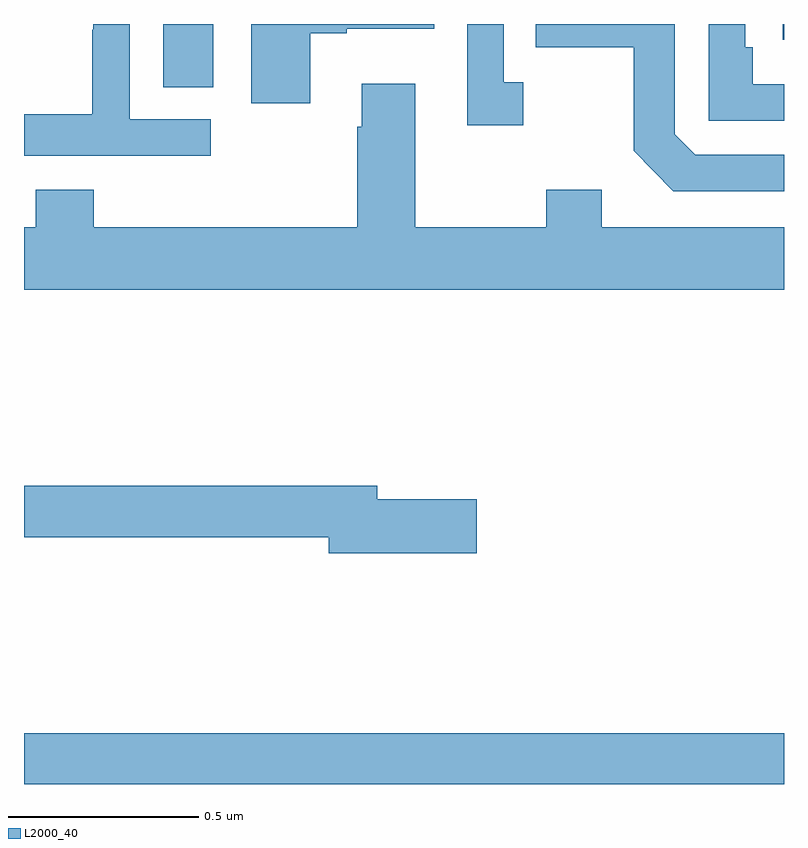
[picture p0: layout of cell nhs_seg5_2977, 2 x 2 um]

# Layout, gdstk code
import gdstk
lib = gdstk.Library(unit=1e-6, precision=1e-09)
def R(c, l, rs):  # rectangles x0, y0, x1, y1
    for r in rs: c.add(gdstk.rectangle(r[:2], r[2:], *l))
def P(c, l, *ps):  # polygons
    for p in ps: c.add(gdstk.Polygon(p, *l))
L2000_40 = (2000, 40)

nhs_seg5_2977 = lib.new_cell('nhs_seg5_2977')
R(nhs_seg5_2977, L2000_40, [(151,848.799,153,848.932), (151.367,850.633,151.498,850.799), (152.997,850.758,153,850.799)])
P(nhs_seg5_2977, L2000_40, [(153,850.455),(152.766,850.455),(152.712,850.509),(152.712,850.799),(152.347,850.799),(152.347,850.738),(152.604,850.738),(152.604,850.465),(152.709,850.359),(153,850.359)],
  [(152.314,850.646),(152.262,850.646),(152.262,850.799),(152.166,850.799),(152.166,850.533),(152.314,850.533)],
  [(153,850.641),(152.918,850.641),(152.918,850.738),(152.898,850.738),(152.898,850.799),(152.802,850.799),(152.802,850.545),(153,850.545)],
  [(151.492,850.548),(151.278,850.548),(151.278,850.799),(151.182,850.799),(151.182,850.784),(151.18,850.784),(151.18,850.561),(151,850.561),(151,850.452),(151.492,850.452)],
  [(151.753,850.775),(151.849,850.775),(151.849,850.787),(152.08,850.787),(152.08,850.799),(151.598,850.799),(151.598,850.59),(151.753,850.59)],
  [(153,850.264),(152.521,850.264),(152.521,850.363),(152.374,850.363),(152.374,850.264),(152.029,850.264),(152.029,850.642),(151.889,850.642),(151.889,850.529),(151.877,850.529),(151.877,850.264),(151.184,850.264),(151.184,850.363),(151.031,850.363),(151.031,850.264),(151,850.264),(151,850.1),(153,850.1)],
  [(152.191,849.548),(151.93,849.548),(151.93,849.584),(151,849.584),(151,849.448),(151.802,849.448),(151.802,849.406),(152.191,849.406)])

lib.write_gds('nhs_seg5_2977.gds')
